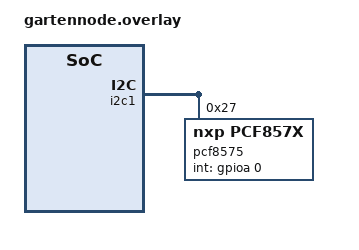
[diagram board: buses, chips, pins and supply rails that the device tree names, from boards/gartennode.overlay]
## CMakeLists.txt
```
cmake_minimum_required(VERSION 3.20.0)

list(APPEND BOARD_ROOT ${CMAKE_CURRENT_SOURCE_DIR})

macro(app_set_runner_args)
  board_runner_args(canopen "--node-id=${CONFIG_CANOPEN_NODE_ID}")
endmacro()

find_package(Zephyr REQUIRED HINTS $ENV{ZEPHYR_BASE})
project(gartennode_zysterne)
FILE(GLOB app_sources src/*.c)
target_sources(app PRIVATE ${app_sources} objdict/CO_OD.c)
zephyr_include_directories(objdict src)
```

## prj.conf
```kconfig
# Print a banner on the UART on startup.
CONFIG_BOOT_BANNER=y

CONFIG_LOG=y
CONFIG_LOG_BACKEND_UART=y
CONFIG_CANOPEN_LOG_LEVEL_DBG=y
CONFIG_SPI=y
CONFIG_SPI_NOR=y
CONFIG_MULTITHREADING=y

CONFIG_GPIO=y
CONFIG_I2C=y
CONFIG_GPIO_PCF857X=y
CONFIG_SENSOR=y

CONFIG_CAN=y
CONFIG_CAN_MAX_FILTER=13

CONFIG_FLASH=y
CONFIG_FLASH_MAP=y
CONFIG_STREAM_FLASH=y
#CONFIG_NVS=y
#CONFIG_SETTINGS=y
#CONFIG_SETTINGS_NVS=y

CONFIG_MAIN_STACK_SIZE=2048

CONFIG_CANOPEN=y
CONFIG_CANOPENNODE_SYNC_THREAD=y
#CONFIG_CANOPENNODE_STORAGE=y
CONFIG_CANOPENNODE_LEDS=y
CONFIG_CANOPENNODE_PROGRAM_DOWNLOAD=y
CONFIG_CANOPEN_NODE_ID=11

CONFIG_REBOOT=y

CONFIG_UART_CONSOLE=y
CONFIG_SERIAL=y
CONFIG_CONSOLE=y
# Enable Zephyr application to be booted by MCUboot
CONFIG_BOOTLOADER_MCUBOOT=y

# Use the default MCUBoot PEM key file (BOOT_SIGNATURE_KEY_FILE)
CONFIG_MCUBOOT_SIGNATURE_KEY_FILE="bootloader/mcuboot/gartennode.pem"
```

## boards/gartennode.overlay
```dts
/*
 * Copyright (c) 2022 Google LLC.
 *
 * SPDX-License-Identifier: Apache-2.0
 */

#include <zephyr/dt-bindings/gpio/gpio.h>
#include <zephyr/dt-bindings/led/led.h>

/ {
	aliases {
		green-led = &green_led;
	};
};

&i2c1 {
	pcf8575: gpio-expander@27 {
		compatible = "nxp,pcf857x";
		reg = <0x27>;
		gpio-controller;
		#gpio-cells = <2>;
		ngpios = <16>;
		int-gpios = <&gpioa 0 0>;
		status = "okay";
	};
};
```

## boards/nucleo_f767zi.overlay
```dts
/*
 * Copyright (c) 2022 Google LLC.
 *
 * SPDX-License-Identifier: Apache-2.0
 */

/ {
	aliases {
		green-led = &green_led;
		red-led = &red_led;
	};
    us0: HC-SR04 {
        compatible = "hc-sr04";
        trig-gpios = <&gpioe 13 GPIO_ACTIVE_HIGH>;
        echo-gpios = <&gpioe 11 (GPIO_PULL_DOWN | GPIO_ACTIVE_HIGH)>;
        status = "okay";
    };
};
```

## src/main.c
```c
/*
 * Copyright (c) 2019 Vestas Wind Systems A/S
 *
 * SPDX-License-Identifier: Apache-2.0
 */

#include <zephyr/kernel.h>
#include <zephyr/drivers/gpio.h>
//#include <zephyr/drivers/led_strip.h>
#include <zephyr/sys/reboot.h>
#include <zephyr/settings/settings.h>
#include <zephyr/drivers/sensor.h>
#include <canopennode.h>

#define LOG_LEVEL CONFIG_CANOPEN_LOG_LEVEL
#include <zephyr/logging/log.h>
LOG_MODULE_REGISTER(app);

#define CAN_INTERFACE DEVICE_DT_GET(DT_CHOSEN(zephyr_canbus))
#define CAN_BITRATE (DT_PROP_OR(DT_CHOSEN(zephyr_canbus), bitrate, \
					  DT_PROP_OR(DT_CHOSEN(zephyr_canbus), bus_speed, \
						     CONFIG_CAN_DEFAULT_BITRATE)) / 1000)

static struct gpio_dt_spec led_green_gpio = GPIO_DT_SPEC_GET_OR(
		DT_ALIAS(green_led), gpios, {0});
static struct gpio_dt_spec led_red_gpio = GPIO_DT_SPEC_GET_OR(
		DT_ALIAS(red_led), gpios, {0});

const struct device *pcf857x;

const int outputLookupTable[6] = {2,1,0,5,4,3};
static uint8_t output[8] = {0};

struct led_indicator {
	const struct device *dev;
	gpio_pin_t pin;
};

void writeOutput(void);
static void config_relais(void);

/**
 * @brief Callback for setting LED indicator state.
 *
 * @param value true if the LED indicator shall be turned on, false otherwise.
 * @param arg argument that was passed when LEDs were initialized.
 */
static void led_callback(bool value, void *arg)
{
	struct gpio_dt_spec *led_gpio = arg;

	if (!led_gpio || !led_gpio->port) {
		return;
	}

	gpio_pin_set_dt(led_gpio, value);
}

/**
 * @brief Configure LED indicators pins and callbacks.
 *
 * This routine configures the GPIOs for the red and green LEDs (if
 * available).
 *
 * @param nmt CANopenNode NMT object.
 */
static void config_leds(CO_NMT_t *nmt)
{
	int err;

	if (!led_green_gpio.port) {
		LOG_INF("Green LED not available");
	} else if (!gpio_is_ready_dt(&led_green_gpio)) {
		LOG_ERR("Green LED device not ready");
		led_green_gpio.port = NULL;
	} else {
		err = gpio_pin_configure_dt(&led_green_gpio,
					    GPIO_OUTPUT_INACTIVE);
		if (err) {
			LOG_ERR("failed to configure Green LED gpio: %d", err);
			led_green_gpio.port = NULL;
		}
	}

	if (!led_red_gpio.port) {
		LOG_INF("Red LED not available");
	} else if (!gpio_is_ready_dt(&led_red_gpio)) {
		LOG_ERR("Red LED device not ready");
		led_red_gpio.port = NULL;
	} else {
		err = gpio_pin_configure_dt(&led_red_gpio,
					    GPIO_OUTPUT_INACTIVE);
		if (err) {
			LOG_ERR("failed to configure Red LED gpio: %d", err);
			led_red_gpio.port = NULL;
		}
	}

	canopen_leds_init(nmt,
			  led_callback, &led_green_gpio,
			  led_callback, &led_red_gpio);
}

static void config_relais(void) {
    pcf857x = DEVICE_DT_GET(DT_NODELABEL(pcf8575));
	if (!pcf857x) {
		LOG_INF("device not found");
		return;
	}

	for (int i=0;i<6;i++) {
		gpio_pin_configure(pcf857x, (gpio_pin_t)outputLookupTable[i], GPIO_OUTPUT);
	}
}

/**
 * @brief Main application entry point.
 *
 * The main application thread is responsible for initializing the
 * CANopen stack and doing the non real-time processing.
 */
int main(void)
{
	CO_NMT_reset_cmd_t reset = CO_RESET_NOT;
	CO_ReturnError_t err;
	struct canopen_context can;
	uint16_t timeout;
	uint32_t elapsed;
	int64_t timestamp;
#ifdef CONFIG_CANOPENNODE_STORAGE
	int ret;
#endif /* CONFIG_CANOPENNODE_STORAGE */

	can.dev = CAN_INTERFACE;
	if (!device_is_ready(can.dev)) {
		LOG_ERR("CAN interface not ready");
		return 0;
	}

#ifdef CONFIG_CANOPENNODE_STORAGE
	ret = settings_subsys_init();
	if (ret) {
		LOG_ERR("failed to initialize settings subsystem (err = %d)",
			ret);
		return 0;
	}

	ret = settings_load();
	if (ret) {
		LOG_ERR("failed to load settings (err = %d)", ret);
		return 0;
	}
#endif /* CONFIG_CANOPENNODE_STORAGE */

	OD_powerOnCounter++;

	while (reset != CO_RESET_APP) {
		elapsed =  0U; /* milliseconds */


		err = CO_init(&can, CONFIG_CANOPEN_NODE_ID, CAN_BITRATE);
		if (err != CO_ERROR_NO) {
			LOG_ERR("CO_init failed (err = %d)", err);
			return 0;
		}

		LOG_INF("CANopen stack initialized: %d", CONFIG_CANOPEN_NODE_ID);

#ifdef CONFIG_CANOPENNODE_STORAGE
		canopen_storage_attach(CO->SDO[0], CO->em);
#endif /* CONFIG_CANOPENNODE_STORAGE */

		config_leds(CO->NMT);
		config_relais();

		if (IS_ENABLED(CONFIG_CANOPENNODE_PROGRAM_DOWNLOAD)) {
			canopen_program_download_attach(CO->NMT, CO->SDO[0],
							CO->em);
		}

		CO_CANsetNormalMode(CO->CANmodule[0]);

		while (true) {
			timeout = 1U; /* default timeout in milliseconds */
			timestamp = k_uptime_get();
			reset = CO_process(CO, (uint16_t)elapsed, &timeout);

			if (reset != CO_RESET_NOT) {
				break;
			}

			if (timeout > 0) {
				writeOutput();

#ifdef CONFIG_CANOPENNODE_STORAGE
				ret = canopen_storage_save(
					CANOPEN_STORAGE_EEPROM);
				if (ret) {
					LOG_ERR("failed to save EEPROM");
				}
#endif /* CONFIG_CANOPENNODE_STORAGE */
				/*
				 * Try to sleep for as long as the
				 * stack requested and calculate the
				 * exact time elapsed.
				 */
				k_sleep(K_MSEC(timeout));
				elapsed = (uint32_t)k_uptime_delta(&timestamp);
			} else {
				/*
				 * Do not sleep, more processing to be
				 * done by the stack.
				 */
				elapsed = 0U;
			}
		}

		if (reset == CO_RESET_COMM) {
			LOG_INF("Resetting communication");
		}
	}

	LOG_INF("Resetting device");

	CO_delete(&can);
	sys_reboot(SYS_REBOOT_COLD);
}

void writeOutput(void) {
	for (uint8_t i=0;i<8;i++) {
		if (output[i] != (uint8_t)(OD_outputs[i])) {
			int set_value = 0; 
			if ((int)(OD_outputs[i]) != 0) {
				set_value = 1;
			}
			int response = gpio_pin_set(pcf857x, outputLookupTable[i], set_value);
			if (response == 0) {
				output[i] = (uint8_t)(OD_outputs[i]);
			}
		}
	}
}
```
